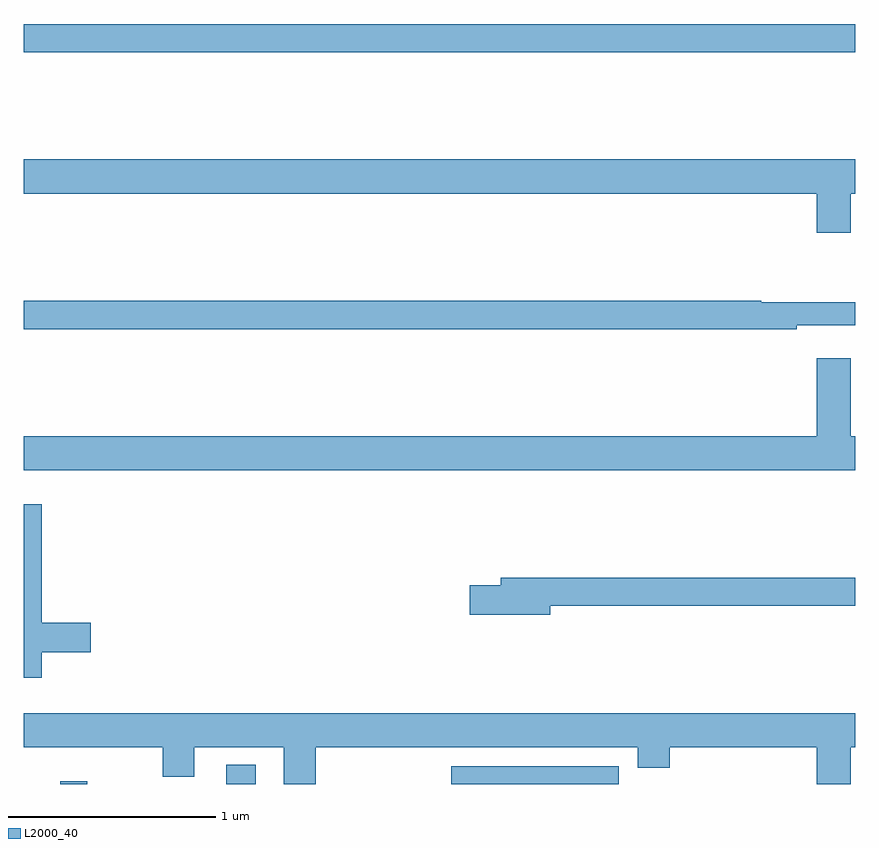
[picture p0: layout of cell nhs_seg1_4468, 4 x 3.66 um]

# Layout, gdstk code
import gdstk
lib = gdstk.Library(unit=1e-6, precision=1e-09)
def R(c, l, rs):  # rectangles x0, y0, x1, y1
    for r in rs: c.add(gdstk.rectangle(r[:2], r[2:], *l))
def P(c, l, *ps):  # polygons
    for p in ps: c.add(gdstk.Polygon(p, *l))
L2000_40 = (2000, 40)

nhs_seg1_4468 = lib.new_cell('nhs_seg1_4468')
R(nhs_seg1_4468, L2000_40, [(353.174,574.199,353.305,574.213), (353.975,574.199,354.115,574.291), (355.056,574.199,355.863,574.284), (353,577.72,357,577.856)])
P(nhs_seg1_4468, L2000_40, [(356.98,577.04),(357,577.04),(357,577.204),(353,577.204),(353,577.04),(356.816,577.04),(356.816,576.852),(356.98,576.852)],
  [(356.72,576.407),(357,576.407),(357,576.517),(356.549,576.517),(356.549,576.524),(353,576.524),(353,576.388),(356.72,576.388)],
  [(357,575.872),(356.98,575.872),(356.98,576.247),(356.816,576.247),(356.816,575.872),(353,575.872),(353,575.708),(357,575.708)],
  [(353.087,574.834),(353.323,574.834),(353.323,574.976),(353.087,574.976),(353.087,575.545),(353,575.545),(353,574.71),(353.087,574.71)],
  [(355.534,575.056),(357,575.056),(357,575.192),(355.295,575.192),(355.295,575.156),(355.146,575.156),(355.146,575.014),(355.534,575.014)],
  [(354.404,574.376),(355.955,574.376),(355.955,574.277),(356.108,574.277),(356.108,574.376),(356.816,574.376),(356.816,574.199),(356.98,574.199),(356.98,574.376),(357,574.376),(357,574.54),(353,574.54),(353,574.376),(353.669,574.376),(353.669,574.235),(353.821,574.235),(353.821,574.376),(354.251,574.376),(354.251,574.199),(354.404,574.199)])

lib.write_gds('nhs_seg1_4468.gds')
